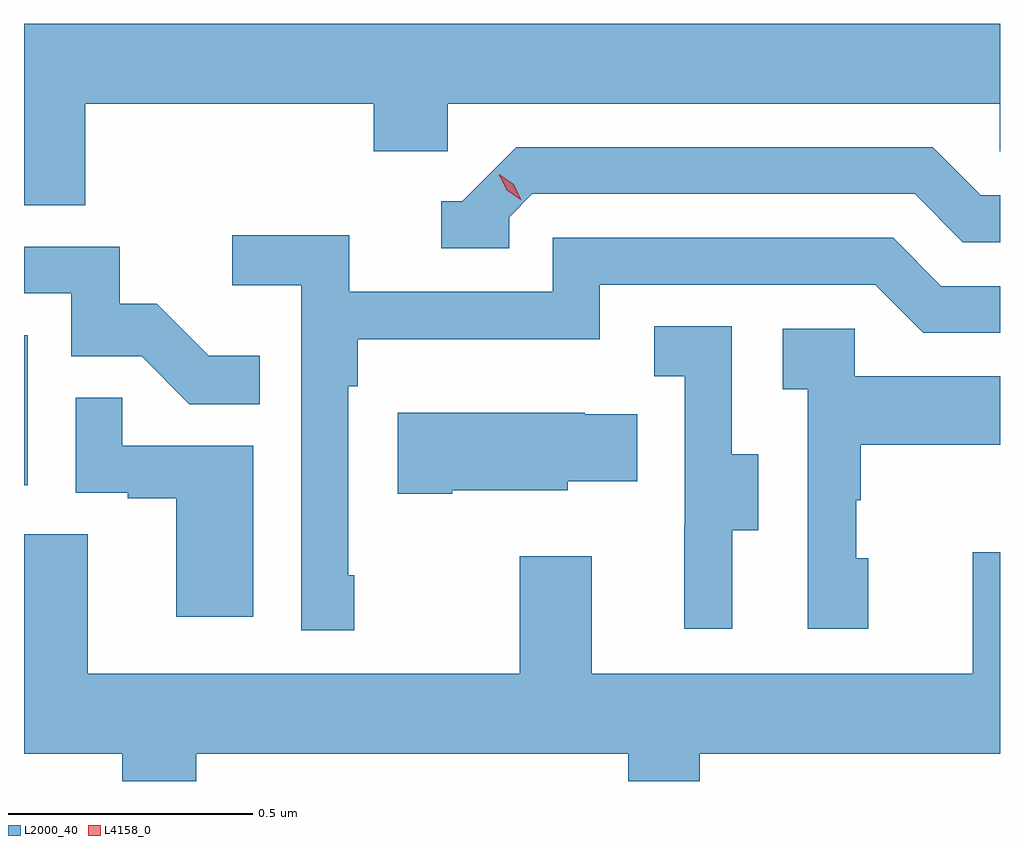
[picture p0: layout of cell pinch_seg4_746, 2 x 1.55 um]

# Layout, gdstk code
import gdstk
lib = gdstk.Library(unit=1e-6, precision=1e-09)
def R(c, l, rs):  # rectangles x0, y0, x1, y1
    for r in rs: c.add(gdstk.rectangle(r[:2], r[2:], *l))
def P(c, l, *ps):  # polygons
    for p in ps: c.add(gdstk.Polygon(p, *l))
L2000_40 = (2000, 40)
L4158_0 = (4158, 0)

pinch_seg4_746 = lib.new_cell('pinch_seg4_746')
R(pinch_seg4_746, L2000_40, [(830.366,820.014,830.374,820.321)])
P(pinch_seg4_746, L2000_40, [(830.492,820.796),(831.083,820.796),(831.083,820.698),(831.234,820.698),(831.234,820.796),(832.365,820.796),(832.365,820.698),(832.366,820.698),(832.366,820.96),(830.366,820.96),(830.366,820.588),(830.492,820.588)],
  [(831.36,820.563),(831.408,820.611),(832.191,820.611),(832.29,820.512),(832.366,820.512),(832.366,820.608),(832.327,820.608),(832.228,820.707),(831.375,820.707),(831.264,820.596),(831.221,820.596),(831.221,820.5),(831.36,820.5)],
  [(831.043,819.829),(831.03,819.829),(831.03,820.217),(831.05,820.217),(831.05,820.313),(831.546,820.313),(831.546,820.425),(832.11,820.425),(832.209,820.326),(832.366,820.326),(832.366,820.422),(832.246,820.422),(832.147,820.521),(831.45,820.521),(831.45,820.41),(831.032,820.41),(831.032,820.526),(830.793,820.526),(830.793,820.424),(830.934,820.424),(830.934,819.717),(831.043,819.717)],
  [(830.849,820.279),(830.745,820.279),(830.638,820.386),(830.562,820.386),(830.562,820.503),(830.366,820.503),(830.366,820.407),(830.463,820.407),(830.463,820.278),(830.607,820.278),(830.705,820.18),(830.849,820.18)],
  [(831.817,819.922),(831.871,819.922),(831.871,820.077),(831.816,820.077),(831.816,820.34),(831.657,820.34),(831.657,820.237),(831.72,820.237),(831.72,819.933),(831.719,819.933),(831.719,819.72),(831.817,819.72)],
  [(832.096,819.864),(832.071,819.864),(832.071,819.983),(832.081,819.983),(832.081,820.097),(832.366,820.097),(832.366,820.237),(832.068,820.237),(832.068,820.335),(831.921,820.335),(831.921,820.211),(831.972,820.211),(831.972,819.72),(832.096,819.72)],
  [(830.836,820.095),(830.567,820.095),(830.567,820.193),(830.472,820.193),(830.472,819.999),(830.579,819.999),(830.579,819.987),(830.678,819.987),(830.678,819.744),(830.836,819.744)],
  [(831.244,820.004),(831.48,820.004),(831.48,820.022),(831.623,820.022),(831.623,820.159),(831.515,820.159),(831.515,820.162),(831.132,820.162),(831.132,819.997),(831.244,819.997)],
  [(830.719,819.464),(831.604,819.464),(831.604,819.407),(831.751,819.407),(831.751,819.464),(832.366,819.464),(832.366,819.877),(832.31,819.877),(832.31,819.628),(831.529,819.628),(831.529,819.868),(831.382,819.868),(831.382,819.628),(830.497,819.628),(830.497,819.914),(830.366,819.914),(830.366,819.464),(830.567,819.464),(830.567,819.407),(830.719,819.407)])
P(pinch_seg4_746, L4158_0, [(831.385,820.598),(831.355,820.618),(831.339,820.651),(831.339,820.651),(831.34,820.651),(831.37,820.631),(831.385,820.598),(831.385,820.598)])

lib.write_gds('pinch_seg4_746.gds')
